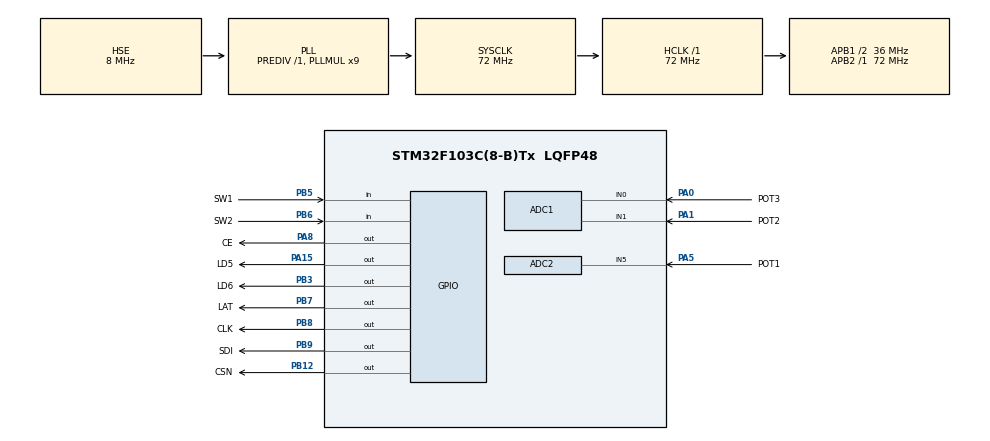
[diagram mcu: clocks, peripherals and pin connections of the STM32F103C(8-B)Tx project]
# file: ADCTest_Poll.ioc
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ADC1.Channel-2\#ChannelRegularConversion=ADC_CHANNEL_0
ADC1.Channel-3\#ChannelRegularConversion=ADC_CHANNEL_1
ADC1.ContinuousConvMode=ENABLE
ADC1.NbrOfConversion=2
ADC1.NbrOfConversionFlag=1
ADC1.Rank-2\#ChannelRegularConversion=1
ADC1.Rank-3\#ChannelRegularConversion=2
ADC1.SamplingTime-2\#ChannelRegularConversion=ADC_SAMPLETIME_1CYCLE_5
ADC1.SamplingTime-3\#ChannelRegularConversion=ADC_SAMPLETIME_1CYCLE_5
ADC1.master=1
ADC2.Channel-0\#ChannelRegularConversion=ADC_CHANNEL_5
ADC2.ContinuousConvMode=ENABLE
ADC2.NbrOfConversionFlag=1
ADC2.Rank-0\#ChannelRegularConversion=1
ADC2.SamplingTime-0\#ChannelRegularConversion=ADC_SAMPLETIME_1CYCLE_5
Mcu.Family=STM32F1
Mcu.Name=STM32F103C(8-B)Tx
Mcu.Package=LQFP48
NVIC.PriorityGroup=NVIC_PRIORITYGROUP_4
PA0-WKUP.GPIO_Label=POT3
PA0-WKUP.Signal=ADCx_IN0
PA1.GPIO_Label=POT2
PA1.Signal=ADCx_IN1
PA13.GPIO_Label=SWDIO
PA13.Mode=Serial_Wire
PA13.Signal=SYS_JTMS-SWDIO
PA14.GPIO_Label=SWCLK
PA14.Mode=Serial_Wire
PA14.Signal=SYS_JTCK-SWCLK
PA15.GPIO_Label=LD5
PA15.GPIO_ModeDefaultOutputPP=GPIO_MODE_OUTPUT_PP
PA15.GPIO_PuPd=GPIO_NOPULL
PA15.GPIO_Speed=GPIO_SPEED_FREQ_HIGH
PA15.PinState=GPIO_PIN_RESET
PA15.Signal=GPIO_Output
PA5.GPIO_Label=POT1
PA5.Signal=ADCx_IN5
PA6.GPIO_Label=Temp
PA6.Signal=ADCx_IN6
PA7.GPIO_Label=PWMG
PA7.Signal=S_TIM3_CH2
PA8.GPIO_Label=CE
PA8.GPIO_Speed=GPIO_SPEED_FREQ_HIGH
PA8.Signal=GPIO_Output
PB0.GPIO_Label=PWMB
PB0.Signal=S_TIM3_CH3
PB1.GPIO_Label=PWMR
PB1.Signal=S_TIM3_CH4
PB12.GPIO_Label=CSN
PB12.GPIO_Speed=GPIO_SPEED_FREQ_HIGH
PB12.Signal=GPIO_Output
PB13.GPIO_Label=SCK
PB13.Signal=SPI2_SCK
PB14.GPIO_Label=MISO
PB14.Signal=SPI2_MISO
PB15.GPIO_Label=MOSI
PB15.Signal=SPI2_MOSI
PB3.GPIO_Label=LD6
PB3.GPIO_ModeDefaultOutputPP=GPIO_MODE_OUTPUT_PP
PB3.GPIO_PuPd=GPIO_NOPULL
PB3.GPIO_Speed=GPIO_SPEED_FREQ_HIGH
PB3.PinState=GPIO_PIN_RESET
PB3.Signal=GPIO_Output
PB5.GPIO_Label=SW1
PB5.GPIO_Mode=GPIO_MODE_INPUT
PB5.GPIO_PuPd=GPIO_NOPULL
PB5.Signal=GPIO_Input
PB6.GPIO_Label=SW2
PB6.GPIO_Mode=GPIO_MODE_INPUT
PB6.GPIO_PuPd=GPIO_NOPULL
PB6.Signal=GPIO_Input
PB7.GPIO_Label=LAT
PB7.GPIO_ModeDefaultOutputPP=GPIO_MODE_OUTPUT_OD
PB7.GPIO_Speed=GPIO_SPEED_FREQ_HIGH
PB7.PinState=GPIO_PIN_RESET
PB7.Signal=GPIO_Output
PB8.GPIO_Label=CLK
PB8.GPIO_ModeDefaultOutputPP=GPIO_MODE_OUTPUT_OD
PB8.GPIO_Speed=GPIO_SPEED_FREQ_HIGH
PB8.PinState=GPIO_PIN_RESET
PB8.Signal=GPIO_Output
PB9.GPIO_Label=SDI
PB9.GPIO_ModeDefaultOutputPP=GPIO_MODE_OUTPUT_OD
PB9.GPIO_Speed=GPIO_SPEED_FREQ_HIGH
PB9.PinState=GPIO_PIN_RESET
PB9.Signal=GPIO_Output
PD0-OSC_IN.GPIO_Label=OSC_IN
PD0-OSC_IN.Mode=HSE-External-Oscillator
PD0-OSC_IN.Signal=RCC_OSC_IN
PD1-OSC_OUT.GPIO_Label=OSC_OUT
PD1-OSC_OUT.Mode=HSE-External-Oscillator
PD1-OSC_OUT.Signal=RCC_OSC_OUT
ProjectManager.HeapSize=0x200
ProjectManager.StackSize=0x400
ProjectManager.TargetToolchain=MDK-ARM V5.27
RCC.ADCPresc=RCC_ADCPCLK2_DIV6
RCC.AHBFreq_Value=72000000
RCC.APB1CLKDivider=RCC_HCLK_DIV2
RCC.APB1Freq_Value=36000000
RCC.APB1TimFreq_Value=72000000
RCC.APB2Freq_Value=72000000
RCC.APB2TimFreq_Value=72000000
RCC.HCLKFreq_Value=72000000
RCC.PLLMUL=RCC_PLL_MUL9
RCC.PLLSourceVirtual=RCC_PLLSOURCE_HSE
RCC.SYSCLKFreq_VALUE=72000000
RCC.SYSCLKSource=RCC_SYSCLKSOURCE_PLLCLK
RCC.USBFreq_Value=72000000
SH.ADCx_IN0.0=ADC1_IN0,IN0
SH.ADCx_IN1.0=ADC1_IN1,IN1
SH.ADCx_IN5.0=ADC1_IN5
SH.ADCx_IN5.1=ADC2_IN5,IN5
SH.ADCx_IN6.0=ADC1_IN6
SH.S_TIM3_CH2.0=TIM3_CH2
SH.S_TIM3_CH3.0=TIM3_CH3
SH.S_TIM3_CH4.0=TIM3_CH4
board=custom

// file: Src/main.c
/* USER CODE BEGIN Header */
/**
  ******************************************************************************
  * @file           : main.c
  * @brief          : Main program body
  ******************************************************************************
  * @attention
  *
  * <h2><center>&copy; Copyright (c) 2020 STMicroelectronics.
  * All rights reserved.</center></h2>
  *
  * This software component is licensed by ST under BSD 3-Clause license,
  * the "License"; You may not use this file except in compliance with the
  * License. You may obtain a copy of the License at:
  *                        opensource.org/licenses/BSD-3-Clause
  *
  ******************************************************************************
  */
/* USER CODE END Header */

#include "main.h"
#include "adc.h"
#include "gpio.h"

/* USER CODE BEGIN Includes */
#include "..\..\bsp\display.h"
/* USER CODE END Includes */

void SystemClock_Config(void);

/* USER CODE BEGIN 0 */
void HAL_SYSTICK_Callback(void)
{
  DisplayRun();
}
/* USER CODE END 0 */

int main(void)
{

  /* MCU Configuration--------------------------------------------------------*/

  /* Reset of all peripherals, Initializes the Flash interface and the Systick. */
  HAL_Init();

  /* Configure the system clock */
  SystemClock_Config();

  /* Initialize all configured peripherals */
  MX_GPIO_Init();
  MX_ADC1_Init();
  MX_ADC2_Init();
  /* USER CODE BEGIN 2 */
  HAL_ADCEx_Calibration_Start(&hadc1);
  HAL_ADCEx_Calibration_Start(&hadc2);
  HAL_ADC_Start(&hadc2);
  /* USER CODE END 2 */

  /* Infinite loop */
  /* USER CODE BEGIN WHILE */
  while (1)
  {
    HAL_ADC_Start(&hadc1);
    HAL_ADC_PollForConversion(&hadc1, 10);
    uint32_t val1 = HAL_ADC_GetValue(&hadc1);
    HAL_ADC_PollForConversion(&hadc1, 10);
    uint32_t val2 = HAL_ADC_GetValue(&hadc1);
    HAL_ADC_Stop(&hadc1);

    uint32_t val3 = HAL_ADC_GetValue(&hadc2);

    uint32_t key1 = HAL_GPIO_ReadPin(SW1_GPIO_Port, SW1_Pin);
    uint32_t key2 = HAL_GPIO_ReadPin(SW2_GPIO_Port, SW2_Pin);

    if (key1 && key2)
      DisplayNumber(val3);
    if (!key1)
      DisplayNumber(val1);
    if (!key2)
      DisplayNumber(val2);

//    HAL_ADC_Start(&hadc1);
//    HAL_ADC_PollForConversion(&hadc1, 10);
//    uint32_t val = HAL_ADC_GetValue(&hadc1);
//    HAL_ADC_Stop(&hadc1);
//    DisplayNumber(val);

    HAL_Delay(100);
    /* USER CODE END WHILE */

  }
}

void SystemClock_Config(void)
{
  RCC_OscInitTypeDef RCC_OscInitStruct = {0};
  RCC_ClkInitTypeDef RCC_ClkInitStruct = {0};
  RCC_PeriphCLKInitTypeDef PeriphClkInit = {0};

  /** Initializes the CPU, AHB and APB busses clocks
  */
  RCC_OscInitStruct.OscillatorType = RCC_OSCILLATORTYPE_HSE;
  RCC_OscInitStruct.HSEState = RCC_HSE_ON;
  RCC_OscInitStruct.HSEPredivValue = RCC_HSE_PREDIV_DIV1;
  RCC_OscInitStruct.HSIState = RCC_HSI_ON;
  RCC_OscInitStruct.PLL.PLLState = RCC_PLL_ON;
  RCC_OscInitStruct.PLL.PLLSource = RCC_PLLSOURCE_HSE;
  RCC_OscInitStruct.PLL.PLLMUL = RCC_PLL_MUL9;
  if (HAL_RCC_OscConfig(&RCC_OscInitStruct) != HAL_OK)
  {
    Error_Handler();
  }
  /** Initializes the CPU, AHB and APB busses clocks
  */
  RCC_ClkInitStruct.ClockType = RCC_CLOCKTYPE_HCLK|RCC_CLOCKTYPE_SYSCLK
                              |RCC_CLOCKTYPE_PCLK1|RCC_CLOCKTYPE_PCLK2;
  RCC_ClkInitStruct.SYSCLKSource = RCC_SYSCLKSOURCE_PLLCLK;
  RCC_ClkInitStruct.AHBCLKDivider = RCC_SYSCLK_DIV1;
  RCC_ClkInitStruct.APB1CLKDivider = RCC_HCLK_DIV2;
  RCC_ClkInitStruct.APB2CLKDivider = RCC_HCLK_DIV1;

  if (HAL_RCC_ClockConfig(&RCC_ClkInitStruct, FLASH_LATENCY_2) != HAL_OK)
  {
    Error_Handler();
  }
  PeriphClkInit.PeriphClockSelection = RCC_PERIPHCLK_ADC;
  PeriphClkInit.AdcClockSelection = RCC_ADCPCLK2_DIV6;
  if (HAL_RCCEx_PeriphCLKConfig(&PeriphClkInit) != HAL_OK)
  {
    Error_Handler();
  }
}

void Error_Handler(void)
{
}

/************************ (C) COPYRIGHT STMicroelectronics *****END OF FILE****/
